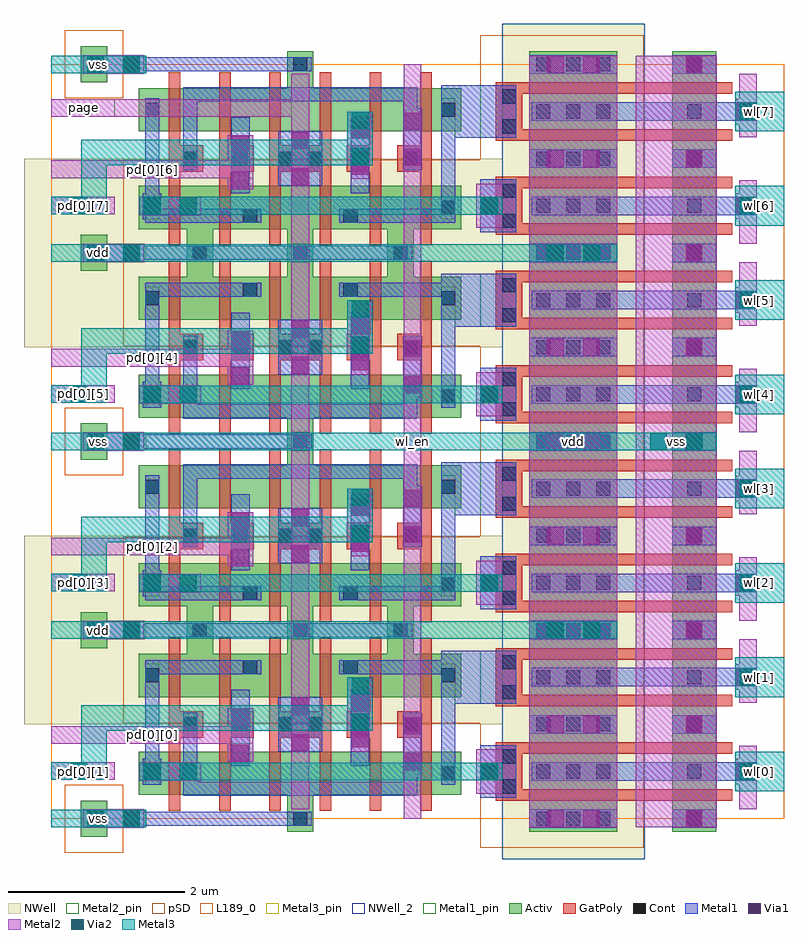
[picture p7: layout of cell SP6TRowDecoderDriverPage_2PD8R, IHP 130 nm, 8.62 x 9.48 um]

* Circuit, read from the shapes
.subckt SP6TRowDecoderDriverPage_2PD8R page pd[0][0] pd[0][1] pd[0][2] pd[0][3] pd[0][4] pd[0][5] pd[0][6] pd[0][7] vdd vss wl[0] wl[1] wl[2] wl[3] wl[4] wl[5] wl[6] wl[7] wl_en
XM1 n1 wl_en SP6TWLDrive_26LN100WN26LP200WP_4/wl_n vss sg13_lv_nmos w=0.49u l=0.13u
XM2 n2 wl_en SP6TWLDrive_26LN100WN26LP200WP_5/wl_n vss sg13_lv_nmos w=0.49u l=0.13u
XM3 n3 wl_en SP6TWLDrive_26LN100WN26LP200WP_6/wl_n vss sg13_lv_nmos w=0.49u l=0.13u
XM4 n4 wl_en SP6TWLDrive_26LN100WN26LP200WP_7/wl_n vss sg13_lv_nmos w=0.49u l=0.13u
XM5 n5 pd[0][0] n1 vss sg13_lv_nmos w=0.49u l=0.13u
XM6 n6 pd[0][2] n2 vss sg13_lv_nmos w=0.49u l=0.13u
XM7 n7 pd[0][4] n3 vss sg13_lv_nmos w=0.49u l=0.13u
XM8 n8 pd[0][6] n4 vss sg13_lv_nmos w=0.49u l=0.13u
XM9 vss page n5 vss sg13_lv_nmos w=0.49u l=0.13u
XM10 vss page n6 vss sg13_lv_nmos w=0.49u l=0.13u
XM11 vss page n7 vss sg13_lv_nmos w=0.49u l=0.13u
XM12 vss page n8 vss sg13_lv_nmos w=0.49u l=0.13u
XM13 n9 page vss vss sg13_lv_nmos w=0.49u l=0.13u
XM14 n10 page vss vss sg13_lv_nmos w=0.49u l=0.13u
XM15 n11 page vss vss sg13_lv_nmos w=0.49u l=0.13u
XM16 n12 page vss vss sg13_lv_nmos w=0.49u l=0.13u
XM17 n13 pd[0][1] n9 vss sg13_lv_nmos w=0.49u l=0.13u
XM18 n14 pd[0][3] n10 vss sg13_lv_nmos w=0.49u l=0.13u
XM19 n15 pd[0][5] n11 vss sg13_lv_nmos w=0.49u l=0.13u
XM20 n16 pd[0][7] n12 vss sg13_lv_nmos w=0.49u l=0.13u
XM21 SP6TWLDrive_26LN100WN26LP200WP_8/wl_n wl_en n13 vss sg13_lv_nmos w=0.49u l=0.13u
XM22 SP6TWLDrive_26LN100WN26LP200WP_9/wl_n wl_en n14 vss sg13_lv_nmos w=0.49u l=0.13u
XM23 SP6TWLDrive_26LN100WN26LP200WP_10/wl_n wl_en n15 vss sg13_lv_nmos w=0.49u l=0.13u
XM24 SP6TWLDrive_26LN100WN26LP200WP_11/wl_n wl_en n16 vss sg13_lv_nmos w=0.49u l=0.13u
XM25 wl[0] SP6TWLDrive_26LN100WN26LP200WP_4/wl_n vss vss sg13_lv_nmos w=0.5u l=0.13u m=2
XM26 wl[1] SP6TWLDrive_26LN100WN26LP200WP_8/wl_n vss vss sg13_lv_nmos w=0.5u l=0.13u m=2
XM27 wl[2] SP6TWLDrive_26LN100WN26LP200WP_5/wl_n vss vss sg13_lv_nmos w=0.5u l=0.13u m=2
XM28 wl[3] SP6TWLDrive_26LN100WN26LP200WP_9/wl_n vss vss sg13_lv_nmos w=0.5u l=0.13u m=2
XM29 wl[4] SP6TWLDrive_26LN100WN26LP200WP_6/wl_n vss vss sg13_lv_nmos w=0.5u l=0.13u m=2
XM30 wl[5] SP6TWLDrive_26LN100WN26LP200WP_10/wl_n vss vss sg13_lv_nmos w=0.5u l=0.13u m=2
XM31 wl[6] SP6TWLDrive_26LN100WN26LP200WP_7/wl_n vss vss sg13_lv_nmos w=0.5u l=0.13u m=2
XM32 wl[7] SP6TWLDrive_26LN100WN26LP200WP_11/wl_n vss vss sg13_lv_nmos w=0.5u l=0.13u m=2
XM33 vdd wl_en SP6TWLDrive_26LN100WN26LP200WP_4/wl_n vdd sg13_lv_pmos w=0.49u l=0.13u
XM34 vdd wl_en SP6TWLDrive_26LN100WN26LP200WP_5/wl_n vdd sg13_lv_pmos w=0.49u l=0.13u
XM35 vdd wl_en SP6TWLDrive_26LN100WN26LP200WP_6/wl_n vdd sg13_lv_pmos w=0.49u l=0.13u
XM36 vdd wl_en SP6TWLDrive_26LN100WN26LP200WP_7/wl_n vdd sg13_lv_pmos w=0.49u l=0.13u
XM37 SP6TWLDrive_26LN100WN26LP200WP_4/wl_n pd[0][0] vdd vdd sg13_lv_pmos w=0.49u l=0.13u
XM38 SP6TWLDrive_26LN100WN26LP200WP_5/wl_n pd[0][2] vdd vdd sg13_lv_pmos w=0.49u l=0.13u
XM39 SP6TWLDrive_26LN100WN26LP200WP_6/wl_n pd[0][4] vdd vdd sg13_lv_pmos w=0.49u l=0.13u
XM40 SP6TWLDrive_26LN100WN26LP200WP_7/wl_n pd[0][6] vdd vdd sg13_lv_pmos w=0.49u l=0.13u
XM41 vdd page SP6TWLDrive_26LN100WN26LP200WP_4/wl_n vdd sg13_lv_pmos w=0.49u l=0.13u
XM42 vdd page SP6TWLDrive_26LN100WN26LP200WP_5/wl_n vdd sg13_lv_pmos w=0.49u l=0.13u
XM43 vdd page SP6TWLDrive_26LN100WN26LP200WP_6/wl_n vdd sg13_lv_pmos w=0.49u l=0.13u
XM44 vdd page SP6TWLDrive_26LN100WN26LP200WP_7/wl_n vdd sg13_lv_pmos w=0.49u l=0.13u
XM45 SP6TWLDrive_26LN100WN26LP200WP_8/wl_n page vdd vdd sg13_lv_pmos w=0.49u l=0.13u
XM46 SP6TWLDrive_26LN100WN26LP200WP_9/wl_n page vdd vdd sg13_lv_pmos w=0.49u l=0.13u
XM47 SP6TWLDrive_26LN100WN26LP200WP_10/wl_n page vdd vdd sg13_lv_pmos w=0.49u l=0.13u
XM48 SP6TWLDrive_26LN100WN26LP200WP_11/wl_n page vdd vdd sg13_lv_pmos w=0.49u l=0.13u
XM49 vdd pd[0][1] SP6TWLDrive_26LN100WN26LP200WP_8/wl_n vdd sg13_lv_pmos w=0.49u l=0.13u
XM50 vdd pd[0][3] SP6TWLDrive_26LN100WN26LP200WP_9/wl_n vdd sg13_lv_pmos w=0.49u l=0.13u
XM51 vdd pd[0][5] SP6TWLDrive_26LN100WN26LP200WP_10/wl_n vdd sg13_lv_pmos w=0.49u l=0.13u
XM52 vdd pd[0][7] SP6TWLDrive_26LN100WN26LP200WP_11/wl_n vdd sg13_lv_pmos w=0.49u l=0.13u
XM53 SP6TWLDrive_26LN100WN26LP200WP_8/wl_n wl_en vdd vdd sg13_lv_pmos w=0.49u l=0.13u
XM54 SP6TWLDrive_26LN100WN26LP200WP_9/wl_n wl_en vdd vdd sg13_lv_pmos w=0.49u l=0.13u
XM55 SP6TWLDrive_26LN100WN26LP200WP_10/wl_n wl_en vdd vdd sg13_lv_pmos w=0.49u l=0.13u
XM56 SP6TWLDrive_26LN100WN26LP200WP_11/wl_n wl_en vdd vdd sg13_lv_pmos w=0.49u l=0.13u
XM57 wl[0] SP6TWLDrive_26LN100WN26LP200WP_4/wl_n vdd vdd sg13_lv_pmos w=1u l=0.13u m=2
XM58 wl[1] SP6TWLDrive_26LN100WN26LP200WP_8/wl_n vdd vdd sg13_lv_pmos w=1u l=0.13u m=2
XM59 wl[2] SP6TWLDrive_26LN100WN26LP200WP_5/wl_n vdd vdd sg13_lv_pmos w=1u l=0.13u m=2
XM60 wl[3] SP6TWLDrive_26LN100WN26LP200WP_9/wl_n vdd vdd sg13_lv_pmos w=1u l=0.13u m=2
XM61 wl[4] SP6TWLDrive_26LN100WN26LP200WP_6/wl_n vdd vdd sg13_lv_pmos w=1u l=0.13u m=2
XM62 wl[5] SP6TWLDrive_26LN100WN26LP200WP_10/wl_n vdd vdd sg13_lv_pmos w=1u l=0.13u m=2
XM63 wl[6] SP6TWLDrive_26LN100WN26LP200WP_7/wl_n vdd vdd sg13_lv_pmos w=1u l=0.13u m=2
XM64 wl[7] SP6TWLDrive_26LN100WN26LP200WP_11/wl_n vdd vdd sg13_lv_pmos w=1u l=0.13u m=2
.ends

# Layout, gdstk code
import gdstk
lib = gdstk.Library(unit=1e-6, precision=1e-09)
def R(c, l, rs):  # rectangles x0, y0, x1, y1
    for r in rs: c.add(gdstk.rectangle(r[:2], r[2:], *l))
def A(c, l, x, y, w, h, nx, ny, dx, dy):  # array of equal rectangles
    R(c, l, [(x+i*dx, y+j*dy, x+i*dx+w, y+j*dy+h) for i in range(nx) for j in range(ny)])
def P(c, l, *ps):  # polygons
    for p in ps: c.add(gdstk.Polygon(p, *l))
Activ = (1, 0)
GatPoly = (5, 0)
Cont = (6, 0)
Metal1 = (8, 0)
Metal1_pin = (8, 2)
Metal2 = (10, 0)
Metal2_pin = (10, 2)
pSD = (14, 0)
Via1 = (19, 0)
Via2 = (29, 0)
Metal3 = (30, 0)
Metal3_pin = (30, 2)
NWell = (31, 0)
NWell_2 = (31, 2)
L189_0 = (189, 0)

sp6trowdecodernand3x2 = lib.new_cell('SP6TRowDecoderNand3X2')
A(sp6trowdecodernand3x2, Activ, 1.535, 1.38, 0.3, 0.91, 3, 1, 1.14, 0)
A(sp6trowdecodernand3x2, Activ, 1.535, 1.99, 0.3, 0.3, 3, 1, 1.14, 0)
R(sp6trowdecodernand3x2, Activ, [(0.335,-0.205,0.635,0.205), (2.675,-0.15,2.975,0.15), (2.675,-0.15,2.975,0.76), (0.995,0.27,4.655,0.76), (0.995,1.38,4.655,1.87), (0.335,1.935,0.635,2.345)])
P(sp6trowdecodernand3x2, GatPoly, [(3.615,0.09),(3.615,0.92),(3.355,0.92),(3.355,1.22),(3.615,1.22),(3.615,2.05),(3.745,2.05),(3.745,0.09)],
  [(4.185,0.09),(4.185,0.92),(3.925,0.92),(3.925,1.22),(4.185,1.22),(4.185,2.05),(4.315,2.05),(4.315,0.09)],
  [(1.335,0.09),(1.335,2.05),(1.465,2.05),(1.465,1.22),(1.725,1.22),(1.725,0.92),(1.465,0.92),(1.465,0.09)],
  [(1.905,0.09),(1.905,2.05),(2.035,2.05),(2.035,1.22),(2.295,1.22),(2.295,0.92),(2.035,0.92),(2.035,0.09)],
  [(2.475,0.09),(2.475,2.05),(2.605,2.05),(2.605,1.22),(3.045,1.22),(3.045,2.05),(3.175,2.05),(3.175,0.09),(3.045,0.09),(3.045,0.92),(2.605,0.92),(2.605,0.09)])
A(sp6trowdecodernand3x2, Cont, 1.605, 2.06, 0.16, 0.16, 3, 1, 1.14, 0)
R(sp6trowdecodernand3x2, Cont, [(0.405,-0.08,0.565,0.08), (2.745,-0.08,2.905,0.08), (1.065,0.435,1.225,0.595), (4.425,0.435,4.585,0.595), (1.495,0.99,1.655,1.15), (2.065,0.99,2.225,1.15), (2.575,0.99,2.735,1.15), (2.915,0.99,3.075,1.15), (3.425,0.99,3.585,1.15), (3.995,0.99,4.155,1.15), (1.065,1.545,1.225,1.705), (4.425,1.545,4.585,1.705), (2.175,1.64,2.335,1.8), (3.315,1.64,3.475,1.8), (0.405,2.06,0.565,2.22)])
R(sp6trowdecodernand3x2, Metal1, [(2.04,0.6,2.25,1.46), (3.4,0.6,3.61,1.46), (2.575,0.76,3.075,1.38)])
P(sp6trowdecodernand3x2, Metal1, [(0.355,-0.105),(0.355,0.105),(1.055,0.105),(1.055,0.08),(2.955,0.08),(2.955,-0.08),(1.055,-0.08),(1.055,-0.105)],
  [(0.355,2.035),(0.355,2.245),(1.055,2.245),(1.055,2.22),(4.095,2.22),(4.095,2.06),(1.055,2.06),(1.055,2.035)],
  [(1.065,0.385),(1.065,1.8),(2.385,1.8),(2.385,1.64),(1.225,1.64),(1.225,0.385)],
  [(1.495,0.26),(1.495,1.2),(1.655,1.2),(1.655,0.42),(3.995,0.42),(3.995,1.2),(4.205,1.2),(4.205,0.5),(4.155,0.5),(4.155,0.26)],
  [(4.425,0.385),(4.425,1.64),(3.265,1.64),(3.265,1.8),(4.585,1.8),(4.585,0.385)])
R(sp6trowdecodernand3x2, Metal1_pin, [(1.065,0.385,1.225,1.755), (4.425,0.385,4.585,1.755), (2.04,0.6,2.25,1.46), (3.4,0.6,3.61,1.46)])
R(sp6trowdecodernand3x2, Metal2, [(0.355,-0.105,1.055,0.105), (4,0,4.2,2.14), (2.725,0.105,2.925,2.035), (0.355,2.035,1.055,2.245)])
R(sp6trowdecodernand3x2, Metal2_pin, [(4,0,4.2,2.14), (2.725,0.105,2.925,2.035)])
R(sp6trowdecodernand3x2, pSD, [(0.155,-0.385,0.815,0.385), (0.815,1.08,4.865,2.47)])
R(sp6trowdecodernand3x2, Via1, [(0.405,-0.095,0.595,0.095), (0.815,-0.095,1.005,0.095), (4.005,0.55,4.195,0.74), (2.73,0.77,2.92,0.96), (4.005,0.96,4.195,1.15), (2.73,1.18,2.92,1.37), (0.405,2.045,0.595,2.235), (0.815,2.045,1.005,2.235)])
R(sp6trowdecodernand3x2, Via2, [(0.405,-0.095,0.595,0.095), (0.815,-0.095,1.005,0.095), (0.405,2.045,0.595,2.235), (0.815,2.045,1.005,2.235)])
R(sp6trowdecodernand3x2, Metal3, [(0.355,-0.1,1.075,0.1), (0.355,2.04,1.075,2.24)])
R(sp6trowdecodernand3x2, Metal3_pin, [(0.355,-0.1,1.075,0.1), (0.355,2.04,1.075,2.24)])
R(sp6trowdecodernand3x2, NWell, [(-0.31,1.07,5.485,2.655)])
R(sp6trowdecodernand3x2, L189_0, [(0,0,4.865,2.14)])
sp6trowdecodernand3x2.add(gdstk.Label('wl_en', (4.1,1.07), layer=10, texttype=25))
sp6trowdecodernand3x2.add(gdstk.Label('page', (2.825,1.07), layer=10, texttype=25))
sp6trowdecodernand3x2.add(gdstk.Label('vss', (0.715,0), layer=30, texttype=25))
sp6trowdecodernand3x2.add(gdstk.Label('vdd', (0.715,2.14), layer=30, texttype=25))
sp6trowdecodernand3x2.add(gdstk.Label('wl_n[0]', (1.145,1.07), layer=8, texttype=25))
sp6trowdecodernand3x2.add(gdstk.Label('pd[0][0]', (2.145,1.03), layer=8, texttype=25))
sp6trowdecodernand3x2.add(gdstk.Label('pd[0][1]', (3.505,1.03), layer=8, texttype=25))
sp6trowdecodernand3x2.add(gdstk.Label('wl_n[1]', (4.505,1.07), layer=8, texttype=25))

sp6twldrive_26ln100wn26l = lib.new_cell('SP6TWLDrive_26LN100WN26LP200WP')
R(sp6twldrive_26ln100wn26l, Activ, [(-2.89,-0.15,-1.89,1.22), (-1.27,-0.15,-0.77,1.22)])
P(sp6twldrive_26ln100wn26l, GatPoly, [(-3.27,0.205),(-3.27,0.865),(-0.59,0.865),(-0.59,0.735),(-2.97,0.735),(-2.97,0.335),(-0.59,0.335),(-0.59,0.205)])
A(sp6twldrive_26ln100wn26l, Cont, -2.81, -0.08, 0.16, 0.16, 3, 3, 0.34, 0.535)
A(sp6twldrive_26ln100wn26l, Cont, -1.1, -0.08, 0.16, 0.16, 1, 3, 0, 0.535)
R(sp6twldrive_26ln100wn26l, Cont, [(-3.2,0.285,-3.04,0.445), (-3.2,0.625,-3.04,0.785)])
R(sp6twldrive_26ln100wn26l, Metal1, [(-2.89,-0.105,-1.89,0.105), (-1.27,-0.105,-0.77,0.105), (-3.45,0.235,-3.04,0.835), (-2.86,0.43,-0.31,0.64), (-2.89,0.965,-1.89,1.175), (-1.27,0.965,-0.77,1.175)])
R(sp6twldrive_26ln100wn26l, Metal1_pin, [(-3.45,0.235,-3.04,0.835)])
R(sp6twldrive_26ln100wn26l, Metal2, [(-2.89,-0.1,-1.89,1.17), (-1.68,-0.1,-0.765,1.17)])
P(sp6twldrive_26ln100wn26l, Metal2, [(-0.51,0.245),(-0.51,0.39),(-0.555,0.39),(-0.555,0.68),(-0.51,0.68),(-0.51,0.965),(-0.31,0.965),(-0.31,0.245)])
R(sp6twldrive_26ln100wn26l, Metal2_pin, [(-2.89,-0.1,-1.89,1.17), (-1.68,-0.1,-0.765,1.17)])
R(sp6twldrive_26ln100wn26l, pSD, [(-3.45,-0.33,-1.59,1.4)])
R(sp6twldrive_26ln100wn26l, Via1, [(-2.69,-0.095,-2.5,0.095), (-2.28,-0.095,-2.09,0.095), (-1.115,-0.095,-0.925,0.095), (-0.55,0.44,-0.36,0.63), (-2.69,0.975,-2.5,1.165), (-2.28,0.975,-2.09,1.165), (-1.115,0.975,-0.925,1.165)])
R(sp6twldrive_26ln100wn26l, Via2, [(-0.505,0.44,-0.315,0.63)])
R(sp6twldrive_26ln100wn26l, Metal3, [(-0.555,0.31,0,0.76)])
R(sp6twldrive_26ln100wn26l, Metal3_pin, [(-0.555,0.31,0,0.76)])
R(sp6twldrive_26ln100wn26l, NWell, [(-3.2,-0.46,-1.58,1.53)])
R(sp6twldrive_26ln100wn26l, NWell_2, [(-3.2,-0.46,-1.58,1.53)])
R(sp6twldrive_26ln100wn26l, L189_0, [(-3.45,0,0,1.07)])
sp6twldrive_26ln100wn26l.add(gdstk.Label('vss', (-1.223,0.535), layer=10, texttype=25))
sp6twldrive_26ln100wn26l.add(gdstk.Label('vdd', (-2.39,0.535), layer=10, texttype=25))
sp6twldrive_26ln100wn26l.add(gdstk.Label('wl_drive', (-0.278,0.535), layer=30, texttype=25))
sp6twldrive_26ln100wn26l.add(gdstk.Label('nwell', (-2.39,0.535), layer=31, texttype=25))
sp6twldrive_26ln100wn26l.add(gdstk.Label('wl_n', (-3.245,0.535), layer=8, texttype=25))

sp6trowdecoderdriverpage = lib.new_cell('SP6TRowDecoderDriverPage_2PD8R')
A(sp6trowdecoderdriverpage, Metal1, 1.04, 0.385, 0.21, 0.295, 1, 4, 0, 2.14)
A(sp6trowdecoderdriverpage, Metal1, 4.865, 0.39, 0.21, 0.29, 1, 4, 0, 2.14)
A(sp6trowdecoderdriverpage, Metal1, 4.425, 1.305, 0.85, 0.6, 1, 4, 0, 2.14)
R(sp6trowdecoderdriverpage, Metal1, [(2.04,0.6,2.25,1.3), (3.4,0.76,3.61,1.46), (2.04,2.82,2.25,3.52), (3.4,2.98,3.61,3.68), (2.04,4.88,2.25,5.58), (3.4,5.04,3.61,5.74), (2.04,7.1,2.25,7.8), (3.4,7.26,3.61,7.96)])
A(sp6trowdecoderdriverpage, Metal2, 4.825, 0.285, 0.29, 0.5, 1, 4, 0, 2.14)
A(sp6trowdecoderdriverpage, Metal2, 1, 0.43, 0.7, 0.21, 1, 4, 0, 2.14)
A(sp6trowdecoderdriverpage, Metal2, 0, 0.44, 0.72, 0.2, 1, 4, 0, 2.14)
R(sp6trowdecoderdriverpage, Metal2, [(5.425,-0.1,6.425,8.66), (6.635,-0.1,7.55,8.66), (4,0,4.2,8.56)])
P(sp6trowdecoderdriverpage, Metal2, [(2,0.645),(2,0.85),(0,0.85),(0,1.05),(2,1.05),(2,1.255),(2.29,1.255),(2.29,0.645)],
  [(2,4.925),(2,5.13),(0,5.13),(0,5.33),(2,5.33),(2,5.535),(2.29,5.535),(2.29,4.925)],
  [(3.405,0.76),(3.405,0.995),(3.36,0.995),(3.36,1.605),(3.65,1.605),(3.65,0.995),(3.605,0.995),(3.605,0.76)],
  [(3.405,5.04),(3.405,5.275),(3.36,5.275),(3.36,5.885),(3.65,5.885),(3.65,5.275),(3.605,5.275),(3.605,5.04)],
  [(2.725,1.07),(2.725,7.965),(0,7.965),(0,8.165),(2.925,8.165),(2.925,1.07)],
  [(2,2.865),(2,2.99),(0,2.99),(0,3.19),(2,3.19),(2,3.475),(2.29,3.475),(2.29,2.865)],
  [(2,7.145),(2,7.27),(0,7.27),(0,7.47),(2,7.47),(2,7.755),(2.29,7.755),(2.29,7.145)],
  [(3.405,2.98),(3.405,3.135),(3.36,3.135),(3.36,3.745),(3.65,3.745),(3.65,3.135),(3.605,3.135),(3.605,2.98)],
  [(3.405,7.26),(3.405,7.415),(3.36,7.415),(3.36,8.025),(3.65,8.025),(3.65,7.415),(3.605,7.415),(3.605,7.26)])
A(sp6trowdecoderdriverpage, Metal2_pin, 0, 0.44, 0.72, 0.2, 1, 4, 0, 2.14)
A(sp6trowdecoderdriverpage, Metal2_pin, 0, 0.85, 2.29, 0.2, 1, 4, 0, 2.14)
R(sp6trowdecoderdriverpage, Metal2_pin, [(5.425,-0.1,6.425,8.66), (6.635,-0.1,7.55,8.66), (4,0,4.2,8.56), (0,7.965,0.72,8.165)])
A(sp6trowdecoderdriverpage, Via1, 1.05, 0.44, 0.19, 0.19, 1, 4, 0, 2.14)
A(sp6trowdecoderdriverpage, Via1, 4.875, 0.44, 0.19, 0.19, 1, 4, 0, 2.14)
R(sp6trowdecoderdriverpage, Via1, [(2.05,0.65,2.24,0.84), (3.41,0.81,3.6,1), (2.05,1.06,2.24,1.25), (3.41,1.22,3.6,1.41), (2.05,2.87,2.24,3.06), (3.41,3.03,3.6,3.22), (2.05,3.28,2.24,3.47), (3.41,3.44,3.6,3.63), (2.05,4.93,2.24,5.12), (3.41,5.09,3.6,5.28), (2.05,5.34,2.24,5.53), (3.41,5.5,3.6,5.69), (2.05,7.15,2.24,7.34), (3.41,7.31,3.6,7.5), (2.05,7.56,2.24,7.75), (3.41,7.72,3.6,7.91)])
A(sp6trowdecoderdriverpage, Via2, 1.05, 0.44, 0.19, 0.19, 1, 4, 0, 2.14)
A(sp6trowdecoderdriverpage, Via2, 1.46, 0.44, 0.19, 0.19, 1, 4, 0, 2.14)
A(sp6trowdecoderdriverpage, Via2, 4.875, 0.44, 0.19, 0.19, 1, 4, 0, 2.14)
A(sp6trowdecoderdriverpage, Via2, 0.22, 0.445, 0.19, 0.19, 1, 4, 0, 2.14)
R(sp6trowdecoderdriverpage, Via2, [(3.41,1,3.6,1.19), (3.41,1.41,3.6,1.6), (5.625,2.045,5.815,2.235), (6.035,2.045,6.225,2.235), (3.41,3.14,3.6,3.33), (3.41,3.55,3.6,3.74), (6.795,4.185,6.985,4.375), (7.205,4.185,7.395,4.375), (3.41,5.28,3.6,5.47), (3.41,5.69,3.6,5.88), (5.625,6.325,5.815,6.515), (6.035,6.325,6.225,6.515), (3.41,7.42,3.6,7.61), (3.41,7.83,3.6,8.02)])
A(sp6trowdecoderdriverpage, Metal3, 7.76, 0.31, 0.555, 0.45, 1, 8, 0, 1.07)
A(sp6trowdecoderdriverpage, Metal3, 1, 0.435, 4.115, 0.2, 1, 4, 0, 2.14)
R(sp6trowdecoderdriverpage, Metal3, [(0,-0.1,1.075,0.1), (0,2.04,6.425,2.24), (0,4.18,7.55,4.38), (0,6.32,6.425,6.52), (0,8.46,1.075,8.66)])
P(sp6trowdecoderdriverpage, Metal3, [(0,0.44),(0,0.64),(0.34,0.64),(0.34,1.285),(3.36,1.285),(3.36,1.605),(3.65,1.605),(3.65,0.995),(0.63,0.995),(0.63,0.44)],
  [(0,2.58),(0,2.78),(0.34,2.78),(0.34,3.425),(3.36,3.425),(3.36,3.745),(3.65,3.745),(3.65,3.135),(0.63,3.135),(0.63,2.58)],
  [(0,4.72),(0,4.92),(0.34,4.92),(0.34,5.565),(3.36,5.565),(3.36,5.885),(3.65,5.885),(3.65,5.275),(0.63,5.275),(0.63,4.72)],
  [(0,6.86),(0,7.06),(0.34,7.06),(0.34,7.705),(3.36,7.705),(3.36,8.025),(3.65,8.025),(3.65,7.415),(0.63,7.415),(0.63,6.86)])
A(sp6trowdecoderdriverpage, Metal3_pin, 0, -0.1, 1.075, 0.2, 1, 5, 0, 2.14)
A(sp6trowdecoderdriverpage, Metal3_pin, 7.76, 0.31, 0.555, 0.45, 1, 8, 0, 1.07)
R(sp6trowdecoderdriverpage, L189_0, [(0,0,8.315,8.56)])
sp6trowdecoderdriverpage.add(gdstk.Reference(sp6trowdecodernand3x2, (0,0)))
sp6trowdecoderdriverpage.add(gdstk.Reference(sp6trowdecodernand3x2, (0,4.28)))
sp6trowdecoderdriverpage.add(gdstk.Reference(sp6trowdecodernand3x2, (0,4.28), x_reflection=True))
sp6trowdecoderdriverpage.add(gdstk.Reference(sp6trowdecodernand3x2, (0,8.56), x_reflection=True))
sp6trowdecoderdriverpage.add(gdstk.Reference(sp6twldrive_26ln100wn26l, (8.315,1.07), x_reflection=True))
sp6trowdecoderdriverpage.add(gdstk.Reference(sp6twldrive_26ln100wn26l, (8.315,3.21), x_reflection=True))
sp6trowdecoderdriverpage.add(gdstk.Reference(sp6twldrive_26ln100wn26l, (8.315,5.35), x_reflection=True))
sp6trowdecoderdriverpage.add(gdstk.Reference(sp6twldrive_26ln100wn26l, (8.315,7.49), x_reflection=True))
sp6trowdecoderdriverpage.add(gdstk.Reference(sp6twldrive_26ln100wn26l, (8.315,1.07)))
sp6trowdecoderdriverpage.add(gdstk.Reference(sp6twldrive_26ln100wn26l, (8.315,3.21)))
sp6trowdecoderdriverpage.add(gdstk.Reference(sp6twldrive_26ln100wn26l, (8.315,5.35)))
sp6trowdecoderdriverpage.add(gdstk.Reference(sp6twldrive_26ln100wn26l, (8.315,7.49)))
sp6trowdecoderdriverpage.add(gdstk.Label('pd[0][0]', (1.145,0.95), layer=10, texttype=25))
sp6trowdecoderdriverpage.add(gdstk.Label('pd[0][1]', (0.36,0.54), layer=10, texttype=25))
sp6trowdecoderdriverpage.add(gdstk.Label('pd[0][2]', (1.145,3.09), layer=10, texttype=25))
sp6trowdecoderdriverpage.add(gdstk.Label('pd[0][7]', (0.36,6.96), layer=10, texttype=25))
sp6trowdecoderdriverpage.add(gdstk.Label('pd[0][3]', (0.36,2.68), layer=10, texttype=25))
sp6trowdecoderdriverpage.add(gdstk.Label('page', (0.36,8.065), layer=10, texttype=25))
sp6trowdecoderdriverpage.add(gdstk.Label('pd[0][4]', (1.145,5.23), layer=10, texttype=25))
sp6trowdecoderdriverpage.add(gdstk.Label('pd[0][5]', (0.36,4.82), layer=10, texttype=25))
sp6trowdecoderdriverpage.add(gdstk.Label('pd[0][6]', (1.145,7.37), layer=10, texttype=25))
sp6trowdecoderdriverpage.add(gdstk.Label('wl_en', (4.1,4.28), layer=10, texttype=25))
sp6trowdecoderdriverpage.add(gdstk.Label('vss', (7.093,4.28), layer=10, texttype=25))
sp6trowdecoderdriverpage.add(gdstk.Label('vdd', (5.925,4.28), layer=10, texttype=25))
sp6trowdecoderdriverpage.add(gdstk.Label('wl[0]', (8.038,0.535), layer=30, texttype=25))
sp6trowdecoderdriverpage.add(gdstk.Label('wl[1]', (8.038,1.605), layer=30, texttype=25))
sp6trowdecoderdriverpage.add(gdstk.Label('wl[7]', (8.038,8.025), layer=30, texttype=25))
sp6trowdecoderdriverpage.add(gdstk.Label('wl[2]', (8.038,2.675), layer=30, texttype=25))
sp6trowdecoderdriverpage.add(gdstk.Label('wl[6]', (8.038,6.955), layer=30, texttype=25))
sp6trowdecoderdriverpage.add(gdstk.Label('wl[3]', (8.038,3.745), layer=30, texttype=25))
sp6trowdecoderdriverpage.add(gdstk.Label('wl[4]', (8.038,4.815), layer=30, texttype=25))
sp6trowdecoderdriverpage.add(gdstk.Label('wl[5]', (8.038,5.885), layer=30, texttype=25))
sp6trowdecoderdriverpage.add(gdstk.Label('vss', (0.538,0), layer=30, texttype=25))
sp6trowdecoderdriverpage.add(gdstk.Label('vss', (0.538,4.28), layer=30, texttype=25))
sp6trowdecoderdriverpage.add(gdstk.Label('vss', (0.538,8.56), layer=30, texttype=25))
sp6trowdecoderdriverpage.add(gdstk.Label('vdd', (0.538,2.14), layer=30, texttype=25))
sp6trowdecoderdriverpage.add(gdstk.Label('vdd', (0.538,6.42), layer=30, texttype=25))

lib.write_gds('SP6TRowDecoderDriverPage_2PD8R.gds')
